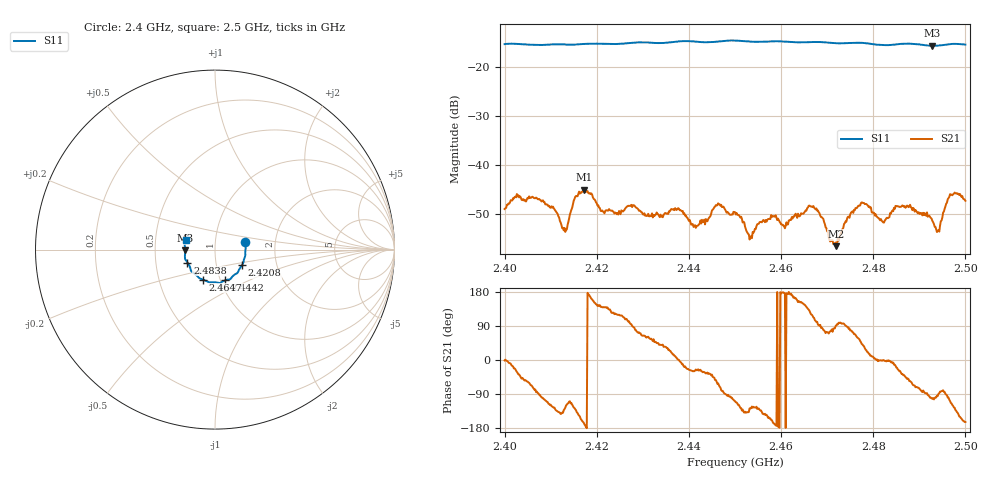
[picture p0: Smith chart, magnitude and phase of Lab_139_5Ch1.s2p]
# Hz S RI R 50
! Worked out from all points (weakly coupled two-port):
!   601 points, 2.4 GHz to 2.5 GHz, reference 50 ohm
!   highest |S21| = -45.13 dB at 2.4172 GHz (marker M1); lowest = -56.7 dB at 2.472 GHz (marker M2)
!   lowest |S11| = -15.6 dB at 2.4928 GHz (marker M3), VSWR 1.40, Z = 35.8 - j0.363 ohm
!   |S11| at or under -10 dB: start of sweep to end of sweep
!   S12 and S22 are empty: the file has one direction only
!   S11 on the Smith chart (normalised r, x): 2.4 GHz: 1.40, +0.12; 2.4208 GHz: 1.33, -0.24; 2.4442 GHz: 1.05, -0.37; 2.4647 GHz: 0.83, -0.29; 2.4838 GHz: 0.73, -0.11; 2.5 GHz: 0.72, +0.08
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2.4e9  0.1677 0.0411  0.00351 -6.42e-05  0 0  0 0
2.407167e9  0.1693 -0.0107  0.000229 -0.00444  0 0  0 0
2.413e9  0.1654 -0.0444  -0.00144 -0.00173  0 0  0 0
2.416667e9  0.159 -0.0681  -0.00479 -0.00196  0 0  0 0
2.417167e9  0.1579 -0.0714  -0.00536 -0.00138  0 0  0 0
2.420833e9  0.1507 -0.0872  -0.00259 0.00215  0 0  0 0
2.433333e9  0.1081 -0.1401  0.0022 0.00218  0 0  0 0
2.444167e9  0.0567 -0.1713  0.00221 -0.00166  0 0  0 0
2.446167e9  0.0423 -0.1784  0.00176 -0.00341  0 0  0 0
2.45e9  0.0245 -0.1862  -0.00104 -0.00309  0 0  0 0
2.453167e9  0.00747 -0.1833  -0.00104 -0.00136  0 0  0 0
2.464667e9  -0.0672 -0.167  -0.00271 0.0016  0 0  0 0
2.466667e9  -0.0801 -0.1627  -0.00183 0.00325  0 0  0 0
2.472e9  -0.1018 -0.1438  -3.77e-05 0.00146  0 0  0 0
2.477333e9  -0.1329 -0.1185  0.00276 0.00295  0 0  0 0
2.483333e9  -0.1503 -0.0763  0.00287 -3.89e-05  0 0  0 0
2.483833e9  -0.1532 -0.0721  0.00313 -0.00033  0 0  0 0
2.487667e9  -0.1675 -0.0494  0.00232 -0.00284  0 0  0 0
2.492833e9  -0.1657 -0.00494  -0.000564 -0.0026  0 0  0 0
2.494167e9  -0.1664 0.00981  3.28e-05 -0.00213  0 0  0 0
2.497167e9  -0.1703 0.0334  -0.00233 -0.00427  0 0  0 0
2.5e9  -0.1624 0.0528  -0.0041 -0.00121  0 0  0 0
